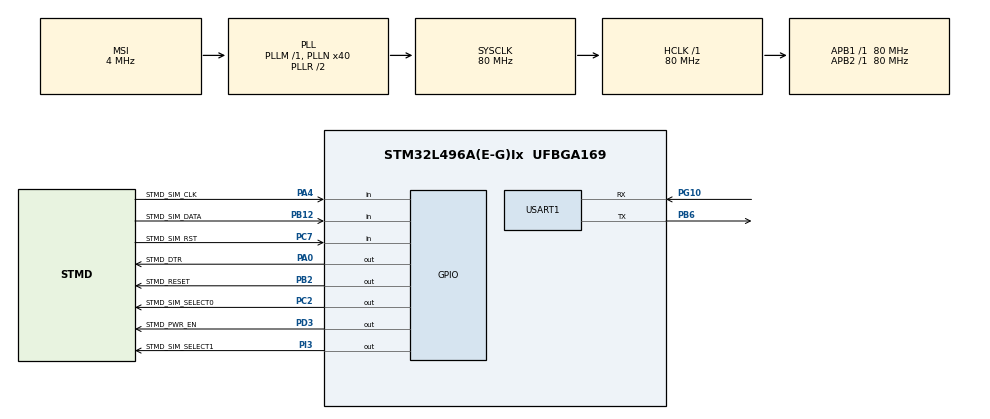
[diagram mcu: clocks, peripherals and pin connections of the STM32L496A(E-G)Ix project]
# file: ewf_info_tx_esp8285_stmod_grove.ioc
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Mcu.Family=STM32L4
Mcu.Name=STM32L496A(E-G)Ix
Mcu.Package=UFBGA169
NVIC.PriorityGroup=NVIC_PRIORITYGROUP_4
NVIC.TIM6_DAC_IRQn=true\:15\:0\:false\:false\:true\:false\:false\:true\:true
NVIC.TimeBase=TIM6_DAC_IRQn
NVIC.TimeBaseIP=TIM6
NVIC.USART1_IRQn=true\:0\:0\:false\:false\:true\:false\:true\:true\:true
PA0.GPIO_Label=STMD_DTR
PA0.Signal=GPIO_Output
PA13\ (JTMS/SWDIO).Signal=SYS_JTMS-SWDIO
PA14\ (JTCK/SWCLK).Signal=SYS_JTCK-SWCLK
PA4.GPIO_Label=STMD_SIM_CLK
PA4.Signal=GPIO_Input
PB12.GPIO_Label=STMD_SIM_DATA
PB12.Signal=GPIO_Input
PB2.GPIO_Label=STMD_RESET
PB2.PinState=GPIO_PIN_SET
PB2.Signal=GPIO_Output
PB3\ (JTDO/TRACESWO).Signal=SYS_JTDO-SWO
PB6.Mode=Asynchronous
PB6.Signal=USART1_TX
PC2.GPIO_Label=STMD_SIM_SELECT0
PC2.GPIO_PuPd=GPIO_PULLDOWN
PC2.Signal=GPIO_Output
PC7.GPIO_Label=STMD_SIM_RST
PC7.Signal=GPIO_Input
PD3.GPIO_Label=STMD_PWR_EN
PD3.GPIO_PuPd=GPIO_NOPULL
PD3.PinState=GPIO_PIN_SET
PD3.Signal=GPIO_Output
PG10.Mode=Asynchronous
PG10.Signal=USART1_RX
PG11.Signal=USART1_CTS
PG12.Signal=USART1_RTS
PI3.GPIO_Label=STMD_SIM_SELECT1
PI3.GPIO_PuPd=GPIO_PULLDOWN
PI3.Signal=GPIO_Output
ProjectManager.HeapSize=0x200
ProjectManager.StackSize=0x400
ProjectManager.TargetToolchain=STM32CubeIDE
RCC.ADCFreq_Value=40000000
RCC.AHBFreq_Value=80000000
RCC.APB1Freq_Value=80000000
RCC.APB1TimFreq_Value=80000000
RCC.APB2Freq_Value=80000000
RCC.APB2TimFreq_Value=80000000
RCC.CortexFreq_Value=80000000
RCC.HCLKFreq_Value=80000000
RCC.HSE_VALUE=8000000
RCC.HSI48_VALUE=48000000
RCC.HSI_VALUE=16000000
RCC.LSE_VALUE=32768
RCC.MSI_VALUE=4000000
RCC.PLLN=40
RCC.PLLSAI1N=20
RCC.SYSCLKFreq_VALUE=80000000
RCC.SYSCLKSource=RCC_SYSCLKSOURCE_PLLCLK
RCC.USBFreq_Value=40000000
RCC.VCOOutputFreq_Value=160000000
STMicroelectronics.X-CUBE-AZRTOS-L4.1.0.0.TX_APP_MEM_POOL_SIZE=512
STMicroelectronics.X-CUBE-AZRTOS-L4.1.0.0.ThreadXCcRTOSJjThreadXJjCore=true
STMicroelectronics.X-CUBE-AZRTOS-L4.1.0.0_IsAnAzureRtosMw=true
USART1.DMADisableonRxErrorParam=ADVFEATURE_DMA_ENABLEONRXERROR
USART1.VirtualMode-Asynchronous=VM_ASYNC
VP_STMicroelectronics.X-CUBE-AZRTOS-L4_VS_RTOSJjThreadX_6.1.7_1.0.0.Mode=RTOSJjThreadX
VP_SYS_VS_tim6.Mode=TIM6
board=STM32L496G-DISCO

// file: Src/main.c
/* USER CODE BEGIN Header */
/**
  ******************************************************************************
  * @file           : main.c
  * @brief          : Main program body
  ******************************************************************************
  * @attention
  *
  * Copyright (c) 2022 STMicroelectronics.
  * All rights reserved.
  *
  * This software is licensed under terms that can be found in the LICENSE file
  * in the root directory of this software component.
  * If no LICENSE file comes with this software, it is provided AS-IS.
  *
  ******************************************************************************
  */
/* USER CODE END Header */
#include "main.h"
#include "app_threadx.h"

/* USER CODE BEGIN Includes */

#include <stdio.h>

#include "ewf_lib.c"
#include "ewf_platform_threadx.c"
#include "ewf_allocator.c"
#include "ewf_allocator_threadx.c"
#include "ewf_interface.c"
#include "ewf_interface_stm32_uart.c"
#include "ewf_adapter.c"
#include "ewf_adapter_api_control.c"
#include "ewf_adapter_api_info.c"
#include "ewf_adapter_api_tls_basic.c"
#include "ewf_adapter_api_mqtt_basic.c"
#include "ewf_adapter_api_tcp.c"
#include "ewf_adapter_api_udp.c"
#include "ewf_adapter_espressif_esp8285.c"
#include "ewf_example.config.h"

/* USER CODE END Includes */

/* USER CODE BEGIN PTD */
#if defined ( __GNUC__) && !defined(__clang__)
/* With GCC, small printf (option LD Linker->Libraries->Small printf
   set to 'Yes') calls __io_putchar() */
#define PUTCHAR_PROTOTYPE int __io_putchar(int ch)
#else
#define PUTCHAR_PROTOTYPE int fputc(int ch, FILE *f)
#endif /* __GNUC__ */

/* USER CODE END PTD */

UART_HandleTypeDef huart1;

void SystemClock_Config(void);
static void MX_GPIO_Init(void);
static void MX_USART1_UART_Init(void);

/* USER CODE BEGIN 0 */

/**
* @brief  Retargets the C library printf function to the USART.
* @param  None
* @retval None
*/

PUTCHAR_PROTOTYPE
{
    /* Place your implementation of fputc here */
    /* e.g. write a character to the USART1 and Loop until the end of transmission */
    ITM_SendChar(ch);
    return ch;
}

void thread_sample_entry(ULONG thread_input)
{
    ewf_result result;

    ewf_allocator* message_allocator_ptr = NULL;
    ewf_interface* interface_ptr = NULL;
    ewf_adapter* adapter_ptr = NULL;

    EWF_ALLOCATOR_THREADX_STATIC_DECLARE(message_allocator_ptr, message_allocator,
    	EWF_CONFIG_MESSAGE_ALLOCATOR_BLOCK_COUNT,
		EWF_CONFIG_MESSAGE_ALLOCATOR_BLOCK_SIZE);
    EWF_INTERFACE_STM32_UART_STATIC_DECLARE(interface_ptr, stm32_uart_port, &huart1);
    EWF_ADAPTER_ESPRESSIF_ESP8285_STATIC_DECLARE(adapter_ptr, esp8285, message_allocator_ptr, NULL, interface_ptr);

    // Initialize the port
    MX_USART1_UART_Init();

    // Start the adapter
    if (ewf_result_failed(result = ewf_adapter_start(adapter_ptr)))
    {
        EWF_LOG_ERROR("Failed to start the adapter, ewf_result %d.\n", result);
        return;
    }

    // Get the adapter info
    if (ewf_result_failed(result = ewf_adapter_info(adapter_ptr)))
    {
        EWF_LOG_ERROR("The info function returned an error, ewf_result %d.\n", result);
        return;
    }

    EWF_LOG("\nDone!\n");

    /* Wait forever  */
    while (1)
    {
        EWF_LOG(".");
        ewf_platform_sleep(EWF_PLATFORM_TICKS_PER_SECOND);
    }
}
/* USER CODE END 0 */

int main(void)
{

  /* MCU Configuration--------------------------------------------------------*/

  /* Reset of all peripherals, Initializes the Flash interface and the Systick. */
  HAL_Init();

  /* Configure the system clock */
  SystemClock_Config();

  /* Initialize all configured peripherals */
  MX_GPIO_Init();

  MX_ThreadX_Init();

  /* We should never get here as control is now taken by the scheduler */
  /* Infinite loop */
  while (1)
  {

  }
}

void SystemClock_Config(void)
{
  RCC_OscInitTypeDef RCC_OscInitStruct = {0};
  RCC_ClkInitTypeDef RCC_ClkInitStruct = {0};

  /** Configure the main internal regulator output voltage
  */
  if (HAL_PWREx_ControlVoltageScaling(PWR_REGULATOR_VOLTAGE_SCALE1) != HAL_OK)
  {
    Error_Handler();
  }

  /** Initializes the RCC Oscillators according to the specified parameters
  * in the RCC_OscInitTypeDef structure.
  */
  RCC_OscInitStruct.OscillatorType = RCC_OSCILLATORTYPE_MSI;
  RCC_OscInitStruct.MSIState = RCC_MSI_ON;
  RCC_OscInitStruct.MSICalibrationValue = 0;
  RCC_OscInitStruct.MSIClockRange = RCC_MSIRANGE_6;
  RCC_OscInitStruct.PLL.PLLState = RCC_PLL_ON;
  RCC_OscInitStruct.PLL.PLLSource = RCC_PLLSOURCE_MSI;
  RCC_OscInitStruct.PLL.PLLM = 1;
  RCC_OscInitStruct.PLL.PLLN = 40;
  RCC_OscInitStruct.PLL.PLLP = RCC_PLLP_DIV2;
  RCC_OscInitStruct.PLL.PLLQ = RCC_PLLQ_DIV2;
  RCC_OscInitStruct.PLL.PLLR = RCC_PLLR_DIV2;
  if (HAL_RCC_OscConfig(&RCC_OscInitStruct) != HAL_OK)
  {
    Error_Handler();
  }

  /** Initializes the CPU, AHB and APB buses clocks
  */
  RCC_ClkInitStruct.ClockType = RCC_CLOCKTYPE_HCLK|RCC_CLOCKTYPE_SYSCLK
                              |RCC_CLOCKTYPE_PCLK1|RCC_CLOCKTYPE_PCLK2;
  RCC_ClkInitStruct.SYSCLKSource = RCC_SYSCLKSOURCE_PLLCLK;
  RCC_ClkInitStruct.AHBCLKDivider = RCC_SYSCLK_DIV1;
  RCC_ClkInitStruct.APB1CLKDivider = RCC_HCLK_DIV1;
  RCC_ClkInitStruct.APB2CLKDivider = RCC_HCLK_DIV1;

  if (HAL_RCC_ClockConfig(&RCC_ClkInitStruct, FLASH_LATENCY_4) != HAL_OK)
  {
    Error_Handler();
  }
}

static void MX_USART1_UART_Init(void)
{

  huart1.Instance = USART1;
  huart1.Init.BaudRate = 115200;
  huart1.Init.WordLength = UART_WORDLENGTH_8B;
  huart1.Init.StopBits = UART_STOPBITS_1;
  huart1.Init.Parity = UART_PARITY_NONE;
  huart1.Init.Mode = UART_MODE_TX_RX;
  huart1.Init.HwFlowCtl = UART_HWCONTROL_NONE;
  huart1.Init.OverSampling = UART_OVERSAMPLING_16;
  huart1.Init.OneBitSampling = UART_ONE_BIT_SAMPLE_DISABLE;
  huart1.AdvancedInit.AdvFeatureInit = UART_ADVFEATURE_NO_INIT;
  if (HAL_UART_Init(&huart1) != HAL_OK)
  {
    Error_Handler();
  }

}

static void MX_GPIO_Init(void)
{
  GPIO_InitTypeDef GPIO_InitStruct = {0};

  /* GPIO Ports Clock Enable */
  __HAL_RCC_GPIOB_CLK_ENABLE();
  __HAL_RCC_GPIOA_CLK_ENABLE();
  __HAL_RCC_GPIOI_CLK_ENABLE();
  __HAL_RCC_GPIOG_CLK_ENABLE();
  HAL_PWREx_EnableVddIO2();
  __HAL_RCC_GPIOD_CLK_ENABLE();
  __HAL_RCC_GPIOC_CLK_ENABLE();

  /*Configure GPIO pin Output Level */
  HAL_GPIO_WritePin(STMD_SIM_SELECT1_GPIO_Port, STMD_SIM_SELECT1_Pin, GPIO_PIN_RESET);

  /*Configure GPIO pin Output Level */
  HAL_GPIO_WritePin(STMD_PWR_EN_GPIO_Port, STMD_PWR_EN_Pin, GPIO_PIN_SET);

  /*Configure GPIO pin Output Level */
  HAL_GPIO_WritePin(STMD_SIM_SELECT0_GPIO_Port, STMD_SIM_SELECT0_Pin, GPIO_PIN_RESET);

  /*Configure GPIO pin Output Level */
  HAL_GPIO_WritePin(STMD_DTR_GPIO_Port, STMD_DTR_Pin, GPIO_PIN_RESET);

  /*Configure GPIO pin Output Level */
  HAL_GPIO_WritePin(STMD_RESET_GPIO_Port, STMD_RESET_Pin, GPIO_PIN_SET);

  /*Configure GPIO pin : STMD_SIM_SELECT1_Pin */
  GPIO_InitStruct.Pin = STMD_SIM_SELECT1_Pin;
  GPIO_InitStruct.Mode = GPIO_MODE_OUTPUT_PP;
  GPIO_InitStruct.Pull = GPIO_PULLDOWN;
  GPIO_InitStruct.Speed = GPIO_SPEED_FREQ_LOW;
  HAL_GPIO_Init(STMD_SIM_SELECT1_GPIO_Port, &GPIO_InitStruct);

  /*Configure GPIO pin : STMD_PWR_EN_Pin */
  GPIO_InitStruct.Pin = STMD_PWR_EN_Pin;
  GPIO_InitStruct.Mode = GPIO_MODE_OUTPUT_PP;
  GPIO_InitStruct.Pull = GPIO_NOPULL;
  GPIO_InitStruct.Speed = GPIO_SPEED_FREQ_LOW;
  HAL_GPIO_Init(STMD_PWR_EN_GPIO_Port, &GPIO_InitStruct);

  /*Configure GPIO pin : STMD_SIM_RST_Pin */
  GPIO_InitStruct.Pin = STMD_SIM_RST_Pin;
  GPIO_InitStruct.Mode = GPIO_MODE_INPUT;
  GPIO_InitStruct.Pull = GPIO_NOPULL;
  HAL_GPIO_Init(STMD_SIM_RST_GPIO_Port, &GPIO_InitStruct);

  /*Configure GPIO pin : STMD_SIM_SELECT0_Pin */
  GPIO_InitStruct.Pin = STMD_SIM_SELECT0_Pin;
  GPIO_InitStruct.Mode = GPIO_MODE_OUTPUT_PP;
  GPIO_InitStruct.Pull = GPIO_PULLDOWN;
  GPIO_InitStruct.Speed = GPIO_SPEED_FREQ_LOW;
  HAL_GPIO_Init(STMD_SIM_SELECT0_GPIO_Port, &GPIO_InitStruct);

  /*Configure GPIO pin : STMD_DTR_Pin */
  GPIO_InitStruct.Pin = STMD_DTR_Pin;
  GPIO_InitStruct.Mode = GPIO_MODE_OUTPUT_PP;
  GPIO_InitStruct.Pull = GPIO_NOPULL;
  GPIO_InitStruct.Speed = GPIO_SPEED_FREQ_LOW;
  HAL_GPIO_Init(STMD_DTR_GPIO_Port, &GPIO_InitStruct);

  /*Configure GPIO pin : STMD_SIM_CLK_Pin */
  GPIO_InitStruct.Pin = STMD_SIM_CLK_Pin;
  GPIO_InitStruct.Mode = GPIO_MODE_INPUT;
  GPIO_InitStruct.Pull = GPIO_NOPULL;
  HAL_GPIO_Init(STMD_SIM_CLK_GPIO_Port, &GPIO_InitStruct);

  /*Configure GPIO pin : STMD_RESET_Pin */
  GPIO_InitStruct.Pin = STMD_RESET_Pin;
  GPIO_InitStruct.Mode = GPIO_MODE_OUTPUT_PP;
  GPIO_InitStruct.Pull = GPIO_NOPULL;
  GPIO_InitStruct.Speed = GPIO_SPEED_FREQ_LOW;
  HAL_GPIO_Init(STMD_RESET_GPIO_Port, &GPIO_InitStruct);

  /*Configure GPIO pin : STMD_SIM_DATA_Pin */
  GPIO_InitStruct.Pin = STMD_SIM_DATA_Pin;
  GPIO_InitStruct.Mode = GPIO_MODE_INPUT;
  GPIO_InitStruct.Pull = GPIO_NOPULL;
  HAL_GPIO_Init(STMD_SIM_DATA_GPIO_Port, &GPIO_InitStruct);

}

void HAL_TIM_PeriodElapsedCallback(TIM_HandleTypeDef *htim)
{
  if (htim->Instance == TIM6) {
    HAL_IncTick();
  }
}

void Error_Handler(void)
{
  __disable_irq();
  while (1)
  {
  }
}
